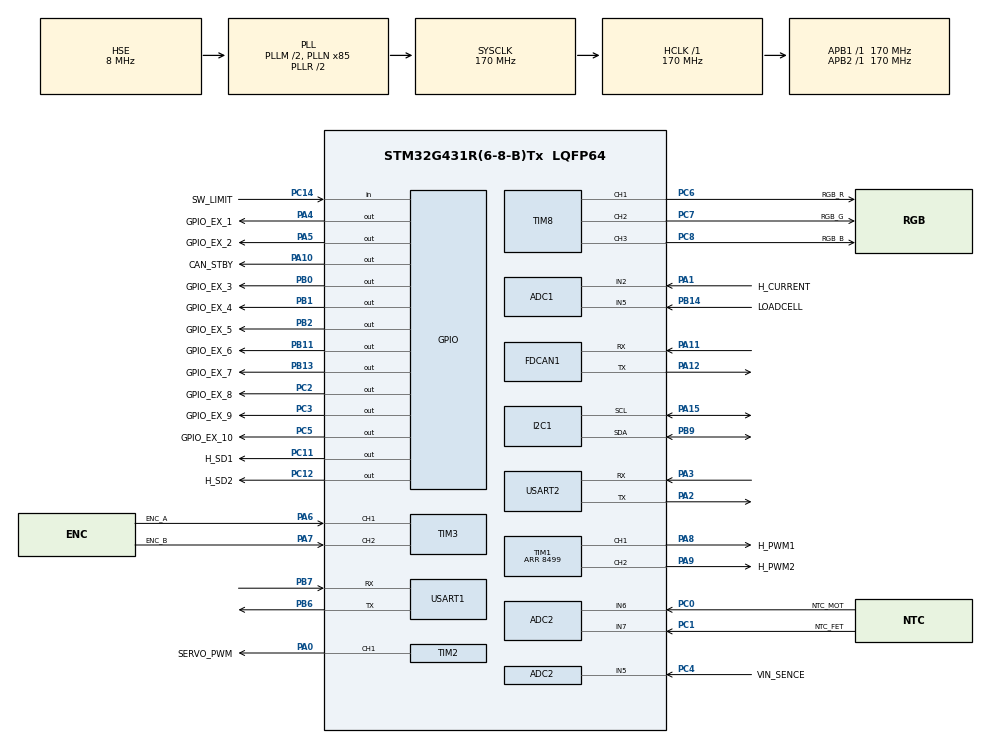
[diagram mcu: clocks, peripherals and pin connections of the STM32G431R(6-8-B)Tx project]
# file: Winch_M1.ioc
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ADC1.Channel-2\#ChannelRegularConversion=ADC_CHANNEL_2
ADC1.NbrOfConversionFlag=1
ADC1.OffsetNumber-2\#ChannelRegularConversion=ADC_OFFSET_NONE
ADC1.Rank-2\#ChannelRegularConversion=1
ADC1.SamplingTime-2\#ChannelRegularConversion=ADC_SAMPLETIME_2CYCLES_5
ADC1.master=1
ADC2.Channel-2\#ChannelRegularConversion=ADC_CHANNEL_5
ADC2.NbrOfConversionFlag=1
ADC2.OffsetNumber-2\#ChannelRegularConversion=ADC_OFFSET_NONE
ADC2.Rank-2\#ChannelRegularConversion=1
ADC2.SamplingTime-2\#ChannelRegularConversion=ADC_SAMPLETIME_2CYCLES_5
FDCAN1.CalculateBaudRateNominal=1000000
FDCAN1.CalculateTimeBitNominal=1000
FDCAN1.CalculateTimeQuantumNominal=100.0
FDCAN1.DataPrescaler=17
FDCAN1.DataTimeSeg1=3
FDCAN1.FrameFormat=FDCAN_FRAME_FD_BRS
FDCAN1.NominalPrescaler=17
FDCAN1.NominalTimeSeg1=7
FDCAN1.StdFiltersNbr=1
I2C1.Timing=0x40B285C2
Mcu.Family=STM32G4
Mcu.Name=STM32G431R(6-8-B)Tx
Mcu.Package=LQFP64
NVIC.FDCAN1_IT0_IRQn=true\:0\:0\:false\:false\:true\:true\:true\:true
NVIC.PriorityGroup=NVIC_PRIORITYGROUP_4
NVIC.TIM6_DAC_IRQn=true\:0\:0\:false\:false\:true\:true\:true\:true
PA0.GPIO_Label=SERVO_PWM
PA0.Signal=S_TIM2_CH1
PA1.GPIO_Label=H_CURRENT
PA1.Mode=IN2-Single-Ended
PA1.Signal=ADC1_IN2
PA10.GPIO_Label=CAN_STBY
PA10.Signal=GPIO_Output
PA11.Mode=FDCAN_Activate
PA11.Signal=FDCAN1_RX
PA12.Mode=FDCAN_Activate
PA12.Signal=FDCAN1_TX
PA13.Mode=Trace_Asynchronous_SW
PA13.Signal=SYS_JTMS-SWDIO
PA14.Mode=Trace_Asynchronous_SW
PA14.Signal=SYS_JTCK-SWCLK
PA15.Mode=I2C
PA15.Signal=I2C1_SCL
PA2.Mode=Asynchronous
PA2.Signal=USART2_TX
PA3.Mode=Asynchronous
PA3.Signal=USART2_RX
PA4.GPIO_Label=GPIO_EX_1
PA4.Signal=GPIO_Output
PA5.GPIO_Label=GPIO_EX_2
PA5.Signal=GPIO_Output
PA6.GPIO_Label=ENC_A
PA6.Signal=S_TIM3_CH1
PA7.GPIO_Label=ENC_B
PA7.Signal=S_TIM3_CH2
PA8.GPIO_Label=H_PWM1
PA8.GPIO_Speed=GPIO_SPEED_FREQ_VERY_HIGH
PA8.Signal=S_TIM1_CH1
PA9.GPIO_Label=H_PWM2
PA9.GPIO_Speed=GPIO_SPEED_FREQ_VERY_HIGH
PA9.Signal=S_TIM1_CH2
PB0.GPIO_Label=GPIO_EX_3
PB0.Signal=GPIO_Output
PB1.GPIO_Label=GPIO_EX_4
PB1.Signal=GPIO_Output
PB11.GPIO_Label=GPIO_EX_6
PB11.Signal=GPIO_Output
PB13.GPIO_Label=GPIO_EX_7
PB13.Signal=GPIO_Output
PB14.GPIO_Label=LOADCELL
PB14.Mode=IN5-Single-Ended
PB14.Signal=ADC1_IN5
PB2.GPIO_Label=GPIO_EX_5
PB2.Signal=GPIO_Output
PB3.Mode=Trace_Asynchronous_SW
PB3.Signal=SYS_JTDO-SWO
PB6.Mode=Asynchronous
PB6.Signal=USART1_TX
PB7.Mode=Asynchronous
PB7.Signal=USART1_RX
PB9.Mode=I2C
PB9.Signal=I2C1_SDA
PC0.GPIO_Label=NTC_MOT
PC0.Mode=IN6-Single-Ended
PC0.Signal=ADC2_IN6
PC1.GPIO_Label=NTC_FET
PC1.Mode=IN7-Single-Ended
PC1.Signal=ADC2_IN7
PC11.GPIO_Label=H_SD1
PC11.Signal=GPIO_Output
PC12.GPIO_Label=H_SD2
PC12.Signal=GPIO_Output
PC14-OSC32_IN.GPIO_Label=SW_LIMIT
PC14-OSC32_IN.Signal=GPIO_Input
PC2.GPIO_Label=GPIO_EX_8
PC2.Signal=GPIO_Output
PC3.GPIO_Label=GPIO_EX_9
PC3.Signal=GPIO_Output
PC4.GPIO_Label=VIN_SENCE
PC4.Mode=IN5-Single-Ended
PC4.Signal=ADC2_IN5
PC5.GPIO_Label=GPIO_EX_10
PC5.Signal=GPIO_Output
PC6.GPIO_Label=RGB_R
PC6.Signal=S_TIM8_CH1
PC7.GPIO_Label=RGB_G
PC7.Signal=S_TIM8_CH2
PC8.GPIO_Label=RGB_B
PC8.Signal=S_TIM8_CH3
PF0-OSC_IN.Mode=HSE-External-Oscillator
PF0-OSC_IN.Signal=RCC_OSC_IN
PF1-OSC_OUT.Mode=HSE-External-Oscillator
PF1-OSC_OUT.Signal=RCC_OSC_OUT
ProjectManager.HeapSize=0x200
ProjectManager.StackSize=0x400
ProjectManager.TargetToolchain=STM32CubeIDE
RCC.ADC12Freq_Value=170000000
RCC.AHBFreq_Value=170000000
RCC.APB1Freq_Value=170000000
RCC.APB1TimFreq_Value=170000000
RCC.APB2Freq_Value=170000000
RCC.APB2TimFreq_Value=170000000
RCC.CortexFreq_Value=170000000
RCC.EXTERNAL_CLOCK_VALUE=12288000
RCC.HCLKFreq_Value=170000000
RCC.HSE_VALUE=8000000
RCC.HSI48_VALUE=48000000
RCC.HSI_VALUE=16000000
RCC.LSE_VALUE=32768
RCC.PLLM=RCC_PLLM_DIV2
RCC.PLLN=85
RCC.PLLSourceVirtual=RCC_PLLSOURCE_HSE
RCC.SYSCLKFreq_VALUE=170000000
RCC.SYSCLKSource=RCC_SYSCLKSOURCE_PLLCLK
RCC.USBFreq_Value=170000000
RCC.VCOOutputFreq_Value=340000000
SH.S_TIM1_CH1.0=TIM1_CH1,PWM Generation1 CH1
SH.S_TIM1_CH2.0=TIM1_CH2,PWM Generation2 CH2
SH.S_TIM2_CH1.0=TIM2_CH1,Output Compare1 CH1
SH.S_TIM3_CH1.0=TIM3_CH1,Encoder_Interface
SH.S_TIM3_CH2.0=TIM3_CH2,Encoder_Interface
SH.S_TIM8_CH1.0=TIM8_CH1,PWM Generation1 CH1
SH.S_TIM8_CH2.0=TIM8_CH2,PWM Generation2 CH2
SH.S_TIM8_CH3.0=TIM8_CH3,PWM Generation3 CH3
TIM1.AutoReloadPreload=TIM_AUTORELOAD_PRELOAD_ENABLE
TIM1.AutomaticOutput=TIM_AUTOMATICOUTPUT_ENABLE
TIM1.Channel-PWM\ Generation1\ CH1=TIM_CHANNEL_1
TIM1.Channel-PWM\ Generation2\ CH2=TIM_CHANNEL_2
TIM1.PeriodNoDither=8499
TIM2.Channel-Output\ Compare1\ CH1=TIM_CHANNEL_1
TIM3.EncoderMode=TIM_ENCODERMODE_TI12
TIM3.IC1Filter=4
TIM3.IC2Filter=4
TIM6.Prescaler=169
TIM8.Channel-PWM\ Generation1\ CH1=TIM_CHANNEL_1
TIM8.Channel-PWM\ Generation2\ CH2=TIM_CHANNEL_2
TIM8.Channel-PWM\ Generation3\ CH3=TIM_CHANNEL_3
USART1.VirtualMode-Asynchronous=VM_ASYNC
USART2.VirtualMode-Asynchronous=VM_ASYNC
VP_SYS_VS_DBSignals.Mode=DisableDeadBatterySignals
VP_TIM1_VS_ClockSourceINT.Mode=Internal
VP_TIM6_VS_ClockSourceINT.Mode=Enable_Timer
board=custom

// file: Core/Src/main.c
/* USER CODE BEGIN Header */
/**
  ******************************************************************************
  * @file           : main.c
  * @brief          : Main program body
  ******************************************************************************
  * @attention
  *
  * Copyright (c) 2026 STMicroelectronics.
  * All rights reserved.
  *
  * This software is licensed under terms that can be found in the LICENSE file
  * in the root directory of this software component.
  * If no LICENSE file comes with this software, it is provided AS-IS.
  *
  ******************************************************************************
  */
/* USER CODE END Header */
#include "main.h"
#include "adc.h"
#include "fdcan.h"
#include "i2c.h"
#include "tim.h"
#include "usart.h"
#include "gpio.h"

/* USER CODE BEGIN Includes */
#include <stdio.h>
#include <stdbool.h>
#include <string.h>

#include "actuator/RGBLED.h"
#include "sensor/encoder.h"
#include "actuator/motor/motor_driver.h"
#include "actuator/motor/speed_controller.h"
#include "actuator/motor/position_controller.h"

#include "config/config_control.h"

#include "actuator/motor/ir2302_bridge.h"
#include "communication/canfd.h"
/* USER CODE END Includes */

void SystemClock_Config(void);
/* USER CODE BEGIN PFP */
static void ControlTimer_Config(void);
/* USER CODE END PFP */

int main(void)
{

  /* MCU Configuration--------------------------------------------------------*/

  /* Reset of all peripherals, Initializes the Flash interface and the Systick. */
  HAL_Init();

  /* Configure the system clock */
  SystemClock_Config();

  /* Initialize all configured peripherals */
  MX_GPIO_Init();
  MX_ADC1_Init();
  MX_FDCAN1_Init();
  MX_TIM1_Init();
  MX_TIM2_Init();
  MX_TIM3_Init();
  MX_USART1_UART_Init();
  MX_USART2_UART_Init();
  MX_ADC2_Init();
  MX_I2C1_Init();
  MX_TIM8_Init();
  MX_TIM6_Init();
  /* USER CODE BEGIN 2 */
  //============================================================================
  ControlTimer_Config();

  RGBLED_Init();
  RGBLED_SetColor(RGBLED_COLOR_RED);
  HAL_Delay(500);
  RGBLED_SetColor(RGBLED_COLOR_GREEN);
  HAL_Delay(500);
  RGBLED_SetColor(RGBLED_COLOR_BLUE);
  HAL_Delay(500);
  RGBLED_SetColor(RGBLED_COLOR_OFF);

  printf("stm32_boot\r\n");

  Encoder_Init();
  MotorDriver_Init();
  SpeedController_Init();
  PositionController_Init();
  CANFD_Init();

  HAL_Delay(100);
//  IR2302Bridge_SetHB1Duty(1000);
//  IR2302Bridge_SetHB2Duty(1000);
  MotorDriver_SetState(MOTOR_STATE_DRIVE);

  HAL_Delay(1000);
  HAL_TIM_Base_Start_IT(&htim6);

  printf("stm32_ready\r\n");

//  MotorDriver_SetDuty(0.3);
//  HAL_Delay(500);
//  MotorDriver_SetDuty(0.5);
//  HAL_Delay(2000);
//  MotorDriver_SetDuty(1.0);
//  HAL_Delay(1000);
  SpeedController_SetTargetSpeed(100.0);

  uint32_t last_target_tick = HAL_GetTick();
  uint32_t last_debug_tick  = HAL_GetTick();

  bool target_toggle = false;

  MotorDriver_SetState(MOTOR_STATE_DRIVE);

  PositionController_SetMode(POSITION_CTRL_MODE_POSITION);
  PositionController_SetTargetPosition(0.0f);

  CANFD_Frame_t rx_frame;
  /* USER CODE END 2 */

  /* Infinite loop */
  /* USER CODE BEGIN WHILE */
  while (1)
  {
//	  SpeedController_SetTargetSpeed(6.0);
//	  HAL_Delay(1000);
//	  SpeedController_SetTargetSpeed(12.0);
//	  HAL_Delay(1000);
//	  SpeedController_SetTargetSpeed(0.0);
//	  HAL_Delay(1000);
//	  SpeedController_SetTargetSpeed(-6.0);
//	  HAL_Delay(1000);
//	  SpeedController_SetTargetSpeed(-12.0);
//	  HAL_Delay(1000);
//	  SpeedController_SetTargetSpeed(0.0);
//	  HAL_Delay(1000);

//	  MotorDriver_SetDuty(100);
//	  HAL_Delay(1000);
//	  MotorDriver_SetDuty(0);
//	  HAL_Delay(1000);
//	  MotorDriver_SetDuty(-100);
//	  HAL_Delay(1000);
//	  MotorDriver_SetDuty(0);
//	  HAL_Delay(1000);

//	  printf("T=%d C=%d E=%d OUT=%d\r\n",
//			  (int)(1 * SpeedController_GetTargetSpeed()),
//			  (int)(1 * SpeedController_GetCurrentSpeed()),
//			  (int)(1 * SpeedController_GetError()),
//			  (int)(1000 * SpeedController_GetOutput())
//	  );
//	  printf("%ld\r\n",Encoder_GetRawCount());
//	  HAL_Delay(100);

//	  uint32_t now = HAL_GetTick();

	  /*----------------------------------------------------------*/
	  /* 3秒ごとに目標位置を�??り替�?                              */
	  /*----------------------------------------------------------*/

//	  if((uint32_t)(now - last_target_tick) >= 8000U)
//	  {
//		  last_target_tick = now;
//
//		  target_toggle = !target_toggle;
//
//		  if(target_toggle)
//		  {
//			  PositionController_SetTargetPosition(6.28f * 100.0f);
//		  }
//		  else
//		  {
//			  PositionController_SetTargetPosition(0.0f);
//		  }
//
//	  }
	  /*----------------------------------------------------------*/
	  /* 200msごとに�?バッグ表示                                  */
	  /*----------------------------------------------------------*/

//	  if((uint32_t)(now - last_debug_tick) >= 200U)
//	  {
//		  last_debug_tick = now;
//
//		  printf("T=%d P=%d E=%d V=%d OUT=%d\r\n",
//			  (int)(1 * PositionController_GetTargetPosition()),
//			  (int)(1 * Encoder_GetPosition()),
//			  (int)(1 * PositionController_GetError()),
//			  (int)(1 * Encoder_GetSpeed()),
//			  (int)(1 * PositionController_GetOutput())
//		  	  );
//	  }

	  if (CANFD_Receive(&rx_frame))
	  {
		  printf(
			  "CAN RX ID=0x%03lX LEN=%u : ",
			  rx_frame.id,
			  rx_frame.length
		  );

		  for (uint8_t i = 0U; i < rx_frame.length; i++)
		  {
			  printf("%02X ", rx_frame.data[i]);
		  }

		  printf("\r\n");
	  }
    /* USER CODE END WHILE */

  }
}

void SystemClock_Config(void)
{
  RCC_OscInitTypeDef RCC_OscInitStruct = {0};
  RCC_ClkInitTypeDef RCC_ClkInitStruct = {0};

  /** Configure the main internal regulator output voltage
  */
  HAL_PWREx_ControlVoltageScaling(PWR_REGULATOR_VOLTAGE_SCALE1_BOOST);

  /** Initializes the RCC Oscillators according to the specified parameters
  * in the RCC_OscInitTypeDef structure.
  */
  RCC_OscInitStruct.OscillatorType = RCC_OSCILLATORTYPE_HSE;
  RCC_OscInitStruct.HSEState = RCC_HSE_ON;
  RCC_OscInitStruct.PLL.PLLState = RCC_PLL_ON;
  RCC_OscInitStruct.PLL.PLLSource = RCC_PLLSOURCE_HSE;
  RCC_OscInitStruct.PLL.PLLM = RCC_PLLM_DIV2;
  RCC_OscInitStruct.PLL.PLLN = 85;
  RCC_OscInitStruct.PLL.PLLP = RCC_PLLP_DIV2;
  RCC_OscInitStruct.PLL.PLLQ = RCC_PLLQ_DIV2;
  RCC_OscInitStruct.PLL.PLLR = RCC_PLLR_DIV2;
  if (HAL_RCC_OscConfig(&RCC_OscInitStruct) != HAL_OK)
  {
    Error_Handler();
  }

  /** Initializes the CPU, AHB and APB buses clocks
  */
  RCC_ClkInitStruct.ClockType = RCC_CLOCKTYPE_HCLK|RCC_CLOCKTYPE_SYSCLK
                              |RCC_CLOCKTYPE_PCLK1|RCC_CLOCKTYPE_PCLK2;
  RCC_ClkInitStruct.SYSCLKSource = RCC_SYSCLKSOURCE_PLLCLK;
  RCC_ClkInitStruct.AHBCLKDivider = RCC_SYSCLK_DIV1;
  RCC_ClkInitStruct.APB1CLKDivider = RCC_HCLK_DIV1;
  RCC_ClkInitStruct.APB2CLKDivider = RCC_HCLK_DIV1;

  if (HAL_RCC_ClockConfig(&RCC_ClkInitStruct, FLASH_LATENCY_4) != HAL_OK)
  {
    Error_Handler();
  }
}

/* USER CODE BEGIN 4 */
static void ControlTimer_Config(void)
{
    uint32_t timer_clock_hz = 170000000UL;
    uint32_t timer_tick_hz  = 1000000UL;

    uint32_t prescaler;
    uint32_t period;

    /* タイマカウンタ�?1 MHzにする */
    prescaler =
        (timer_clock_hz / timer_tick_hz) - 1U;

    /* 制御周期を設�? */
    period =
        (timer_tick_hz / CONTROL_FREQ_HZ) - 1U;

    HAL_TIM_Base_Stop(&htim6);

    __HAL_TIM_SET_PRESCALER(&htim6, prescaler);
    __HAL_TIM_SET_AUTORELOAD(&htim6, period);

    /* PSC/ARRの変更を即時反�? */
    __HAL_TIM_SET_COUNTER(&htim6, 0);
    htim6.Instance->EGR = TIM_EGR_UG;
}

void HAL_TIM_PeriodElapsedCallback(TIM_HandleTypeDef *htim)
{
    if(htim->Instance == TIM6)
    {
    	/* 制御処�?開�? */
		HAL_GPIO_WritePin(GPIO_EX_1_GPIO_Port, GPIO_EX_1_Pin, GPIO_PIN_SET);

        Encoder_Update(CONTROL_PERIOD_S);

        SpeedController_Update(CONTROL_PERIOD_S);

        PositionController_Update(CONTROL_PERIOD_S);

        /* ?��?来 */
        // PositionController_Update();

        // LoadCell_Update();
        /* 制御処�?終�? */
		HAL_GPIO_WritePin(GPIO_EX_1_GPIO_Port, GPIO_EX_1_Pin, GPIO_PIN_RESET);
    }
}

int _write(int file, char *ptr, int len)
{
    HAL_UART_Transmit(&huart2,
                      (uint8_t *)ptr,
                      len,
                      HAL_MAX_DELAY);

    return len;
}
/* USER CODE END 4 */

void Error_Handler(void)
{
  __disable_irq();
  while (1)
  {
  }
}
